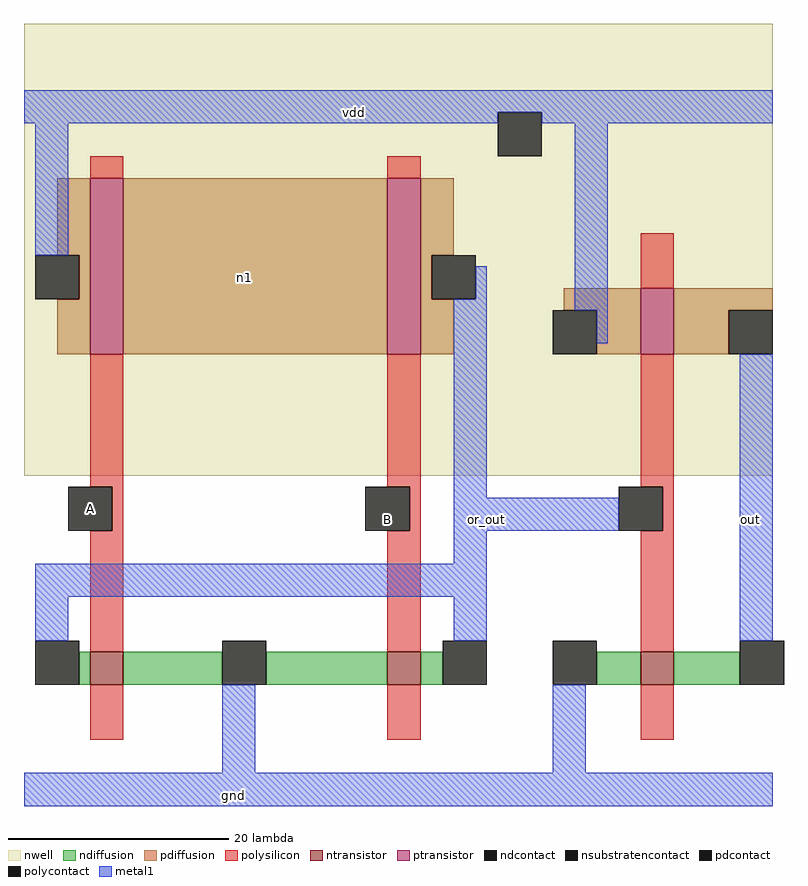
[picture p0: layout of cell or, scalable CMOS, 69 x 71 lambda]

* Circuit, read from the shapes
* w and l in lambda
.subckt or A B gnd n1 or_out out vdd
M1 gnd A or_out VSUBS nfet w=3 l=3
M2 or_out B gnd VSUBS nfet w=3 l=3
M3 out or_out gnd VSUBS nfet w=3 l=3
M4 n1 A vdd vdd pfet w=16 l=3
M5 or_out B n1 vdd pfet w=16 l=3
M6 out or_out vdd vdd pfet w=6 l=3
.ends

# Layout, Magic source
magic
tech scmos
<< nwell >>
rect -55 -6 13 35
<< polysilicon >>
rect -49 21 -46 23
rect -22 21 -19 23
rect 1 11 4 16
rect -49 -7 -46 5
rect -22 -7 -19 5
rect 1 -7 4 5
rect -47 -11 -46 -7
rect -20 -11 -19 -7
rect 3 -11 4 -7
rect -49 -22 -46 -11
rect -22 -22 -19 -11
rect 1 -22 4 -11
rect -49 -30 -46 -25
rect -22 -30 -19 -25
rect 1 -30 4 -25
<< ndiffusion >>
rect -50 -25 -49 -22
rect -46 -25 -37 -22
rect -33 -25 -22 -22
rect -19 -25 -17 -22
rect -3 -25 1 -22
rect 4 -25 10 -22
<< pdiffusion >>
rect -52 14 -49 21
rect -50 10 -49 14
rect -52 5 -49 10
rect -46 5 -22 21
rect -19 14 -16 21
rect -19 10 -18 14
rect -19 5 -16 10
rect -6 9 1 11
rect -3 5 1 9
rect 4 9 13 11
rect 4 5 9 9
<< metal1 >>
rect -55 27 13 29
rect -55 26 -12 27
rect -54 14 -51 26
rect -8 26 13 27
rect -14 10 -13 13
rect -16 -8 -13 10
rect -5 9 -2 26
rect -3 6 -2 9
rect -16 -11 -1 -8
rect -16 -14 -13 -11
rect -54 -17 -13 -14
rect -54 -21 -51 -17
rect -16 -21 -13 -17
rect 10 -21 13 5
rect -37 -33 -34 -25
rect -7 -33 -4 -25
rect -55 -36 13 -33
<< ntransistor >>
rect -49 -25 -46 -22
rect -22 -25 -19 -22
rect 1 -25 4 -22
<< ptransistor >>
rect -49 5 -46 21
rect -22 5 -19 21
rect 1 5 4 11
<< polycontact >>
rect -51 -11 -47 -7
rect -24 -11 -20 -7
rect -1 -11 3 -7
<< ndcontact >>
rect -54 -25 -50 -21
rect -37 -25 -33 -21
rect -17 -25 -13 -21
rect -7 -25 -3 -21
rect 10 -25 14 -21
<< pdcontact >>
rect -54 10 -50 14
rect -18 10 -14 14
rect -7 5 -3 9
rect 9 5 13 9
<< nsubstratencontact >>
rect -12 23 -8 27
<< labels >>
rlabel metal1 -25 27 -25 27 1 vdd
rlabel polycontact -49 -9 -49 -9 1 A
rlabel polycontact -22 -10 -22 -10 1 B
rlabel pdiffusion -35 12 -35 12 1 n1
rlabel metal1 -36 -35 -36 -35 1 gnd
rlabel metal1 -13 -10 -13 -10 1 or_out
rlabel metal1 11 -10 11 -10 7 out
<< end >>
